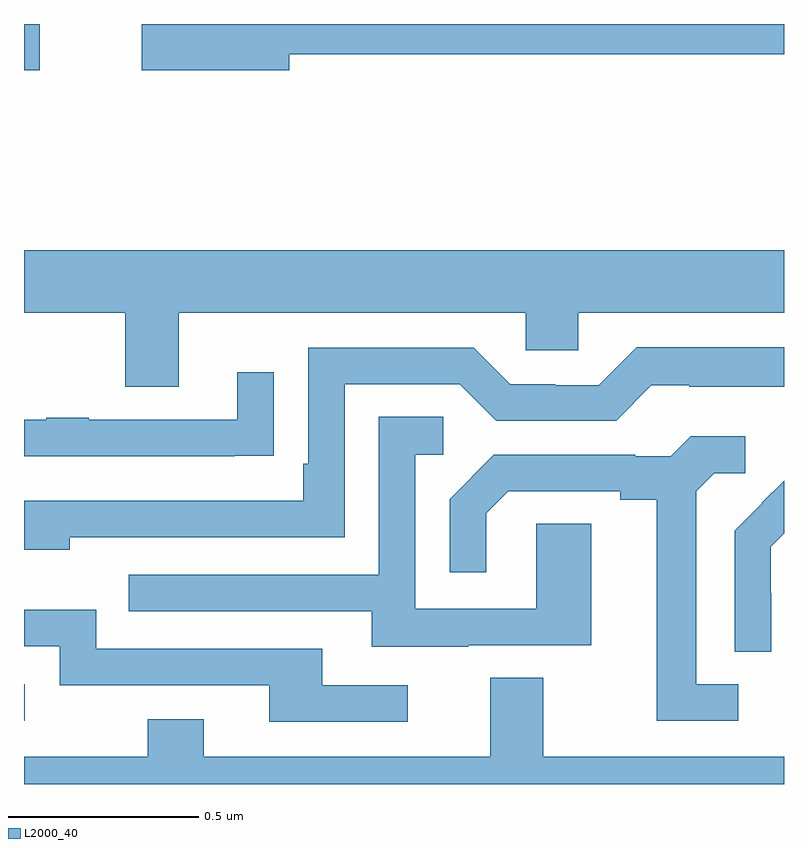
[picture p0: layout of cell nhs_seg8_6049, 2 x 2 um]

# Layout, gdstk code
import gdstk
lib = gdstk.Library(unit=1e-6, precision=1e-09)
def R(c, l, rs):  # rectangles x0, y0, x1, y1
    for r in rs: c.add(gdstk.rectangle(r[:2], r[2:], *l))
def P(c, l, *ps):  # polygons
    for p in ps: c.add(gdstk.Polygon(p, *l))
L2000_40 = (2000, 40)

nhs_seg8_6049 = lib.new_cell('nhs_seg8_6049')
R(nhs_seg8_6049, L2000_40, [(191,1142.067,191.002,1142.163), (191,1143.778,191.041,1143.9)])
P(nhs_seg8_6049, L2000_40, [(191.698,1143.82),(193,1143.82),(193,1143.9),(191.31,1143.9),(191.31,1143.778),(191.698,1143.778)],
  [(191.407,1143.14),(192.321,1143.14),(192.321,1143.042),(192.459,1143.042),(192.459,1143.14),(193,1143.14),(193,1143.304),(191,1143.304),(191,1143.14),(191.267,1143.14),(191.267,1142.946),(191.407,1142.946)],
  [(191.12,1142.55),(191.844,1142.55),(191.844,1142.952),(192.147,1142.952),(192.243,1142.856),(192.558,1142.856),(192.651,1142.949),(192.751,1142.949),(192.751,1142.945),(193,1142.945),(193,1143.049),(192.613,1143.049),(192.513,1142.949),(192.398,1142.949),(192.398,1142.952),(192.279,1142.952),(192.183,1143.048),(191.748,1143.048),(191.748,1142.743),(191.735,1142.743),(191.735,1142.646),(191,1142.646),(191,1142.516),(191.12,1142.516)],
  [(191.555,1142.764),(191.657,1142.764),(191.657,1142.983),(191.561,1142.983),(191.561,1142.859),(191.171,1142.859),(191.171,1142.864),(191.059,1142.864),(191.059,1142.859),(191,1142.859),(191,1142.763),(191.555,1142.763)],
  [(192.169,1142.265),(192.493,1142.265),(192.493,1142.585),(192.348,1142.585),(192.348,1142.361),(192.03,1142.361),(192.03,1142.766),(192.103,1142.766),(192.103,1142.867),(191.934,1142.867),(191.934,1142.451),(191.275,1142.451),(191.275,1142.355),(191.915,1142.355),(191.915,1142.261),(192.169,1142.261)],
  [(192.88,1142.163),(192.769,1142.163),(192.769,1142.671),(192.816,1142.718),(192.898,1142.718),(192.898,1142.815),(192.754,1142.815),(192.702,1142.763),(192.608,1142.763),(192.608,1142.766),(192.236,1142.766),(192.12,1142.65),(192.12,1142.457),(192.217,1142.457),(192.217,1142.613),(192.274,1142.67),(192.569,1142.67),(192.569,1142.648),(192.665,1142.648),(192.665,1142.067),(192.88,1142.067)],
  [(192.966,1142.402),(192.965,1142.402),(192.965,1142.525),(193,1142.56),(193,1142.698),(192.942,1142.64),(192.943,1142.639),(192.87,1142.566),(192.87,1142.248),(192.966,1142.248)],
  [(192.01,1142.16),(191.785,1142.16),(191.785,1142.256),(191.19,1142.256),(191.19,1142.359),(191,1142.359),(191,1142.262),(191.094,1142.262),(191.094,1142.16),(191.645,1142.16),(191.645,1142.064),(192.01,1142.064)],
  [(193,1141.972),(192.367,1141.972),(192.367,1142.18),(192.227,1142.18),(192.227,1141.972),(191.473,1141.972),(191.473,1142.071),(191.326,1142.071),(191.326,1141.972),(191,1141.972),(191,1141.9),(193,1141.9)])

lib.write_gds('nhs_seg8_6049.gds')
